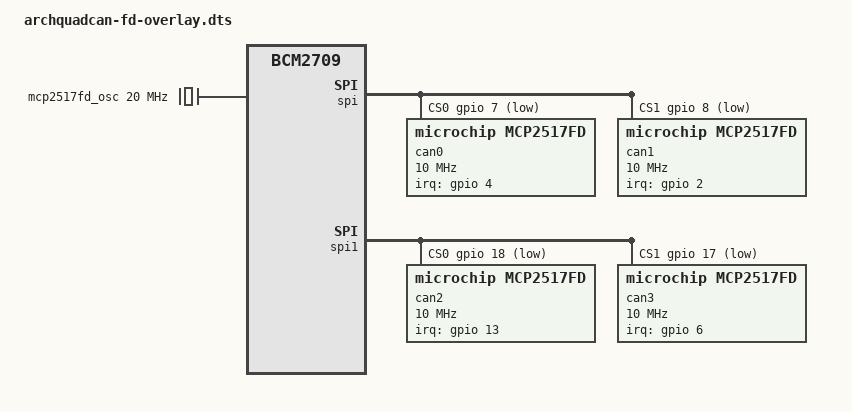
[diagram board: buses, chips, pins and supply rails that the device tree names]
/dts-v1/;
/plugin/;

/ {
  compatible = "brcm,bcm2835", "brcm,bcm2836", "brcm,bcm2708", "brcm,bcm2709";

  fragment@0 {
    target = <&gpio>;
    __overlay__ {
      spi0_pins: spi0_pins {
        brcm,pins = <9 10 11>;
        brcm,function = <4>; /* SPI function */
      };

      spi0_cs_pins: spi0_cs_pins {
        brcm,pins = <7 8>;
        brcm,function = <1>; /* output */
      };

      spi1_pins: spi1_pins {
        brcm,pins = <19 20 21>;
        brcm,function = <3>; /* SPI function */
      };

      spi1_cs_pins: spi1_cs_pins {
        brcm,pins = <18 17>;
        brcm,function = <1>; /* output */
      };

      mcp2517fd_int_pins: mcp2517fd_int_pins {
        brcm,pins = <4 2 13 6>;
        brcm,function = <0>; /* input */
      };
    };
  };

  fragment@1 {
    target = <&spi>;
    __overlay__ {
      #address-cells = <1>;
      #size-cells = <0>;
      pinctrl-names = "default";
      pinctrl-0 = <&spi0_pins &spi0_cs_pins>;
      cs-gpios = <&gpio 7 1>, <&gpio 8 1>;
      status = "okay";

      can0: can@0 {
        compatible = "microchip,mcp2517fd";
        reg = <0>;
        clocks = <&mcp2517fd_osc>;
        spi-max-frequency = <10000000>;
        interrupt-parent = <&gpio>;
        interrupts = <4 0x8>;
      };

      can1: can@1 {
        compatible = "microchip,mcp2517fd";
        reg = <1>;
        clocks = <&mcp2517fd_osc>;
        spi-max-frequency = <10000000>;
        interrupt-parent = <&gpio>;
        interrupts = <2 0x8>;
      };
    };
  };

  fragment@2 {
    target = <&spi1>;
    __overlay__ {
      #address-cells = <1>;
      #size-cells = <0>;
      pinctrl-names = "default";
      pinctrl-0 = <&spi1_pins &spi1_cs_pins>;
      cs-gpios = <&gpio 18 1>, <&gpio 17 1>;
      status = "okay";

      can2: can@0 {
        compatible = "microchip,mcp2517fd";
        reg = <0>;
        clocks = <&mcp2517fd_osc>;
        spi-max-frequency = <10000000>;
        interrupt-parent = <&gpio>;
        interrupts = <13 0x8>;
      };

      can3: can@1 {
        compatible = "microchip,mcp2517fd";
        reg = <1>;
        clocks = <&mcp2517fd_osc>;
        spi-max-frequency = <10000000>;
        interrupt-parent = <&gpio>;
        interrupts = <6 0x8>;
      };
    };
  };


  fragment@3 {
    target-path = "/clocks";
    __overlay__ {
      mcp2517fd_osc: mcp2517fd_osc {
        compatible = "fixed-clock";
        #clock-cells = <0>;
        clock-frequency  = <20000000>;
      };
    };
  };

  fragment@4 {
    target = <&i2c1>;
    __overlay__ {
      /* disable i2c as SDA is used for CAN1 IRQ */
      status = "disabled";
    };
  };
};
